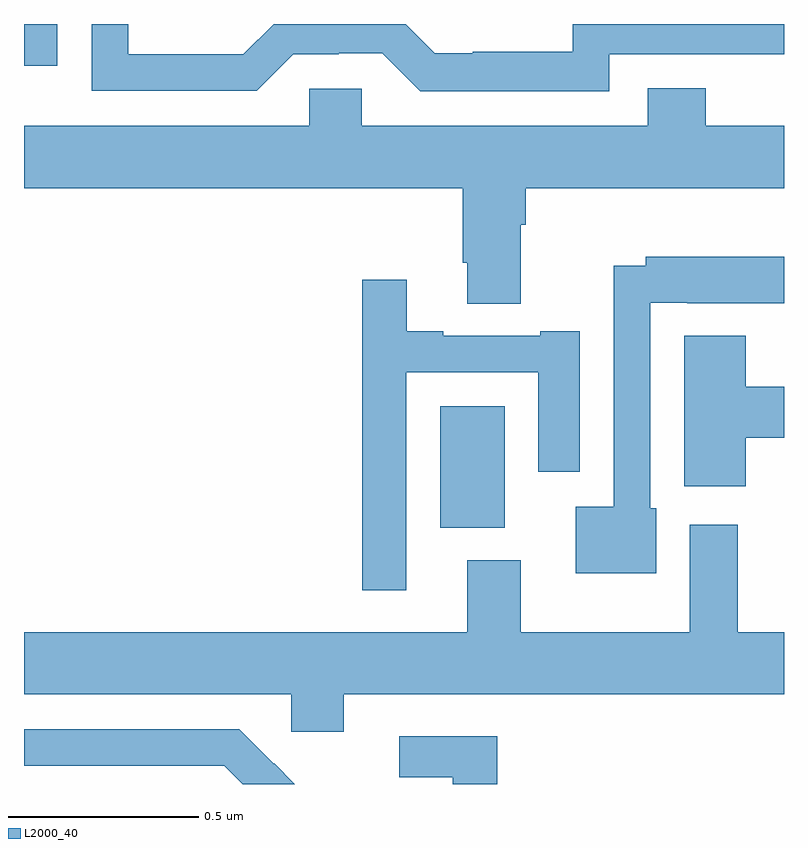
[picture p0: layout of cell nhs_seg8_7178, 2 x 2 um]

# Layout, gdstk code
import gdstk
lib = gdstk.Library(unit=1e-6, precision=1e-09)
def R(c, l, rs):  # rectangles x0, y0, x1, y1
    for r in rs: c.add(gdstk.rectangle(r[:2], r[2:], *l))
def P(c, l, *ps):  # polygons
    for p in ps: c.add(gdstk.Polygon(p, *l))
L2000_40 = (2000, 40)

nhs_seg8_7178 = lib.new_cell('nhs_seg8_7178')
R(nhs_seg8_7178, L2000_40, [(207.095,1147.574,207.265,1147.894), (206,1148.79,206.087,1148.9)])
P(nhs_seg8_7178, L2000_40, [(207.54,1148.82),(208,1148.82),(208,1148.9),(207.444,1148.9),(207.444,1148.827),(207.181,1148.827),(207.181,1148.823),(207.081,1148.823),(207.004,1148.9),(206.657,1148.9),(206.577,1148.82),(206.274,1148.82),(206.274,1148.9),(206.178,1148.9),(206.178,1148.724),(206.613,1148.724),(206.709,1148.82),(206.828,1148.82),(206.828,1148.823),(206.943,1148.823),(207.043,1148.723),(207.54,1148.723)],
  [(207.307,1148.372),(207.32,1148.372),(207.32,1148.468),(208,1148.468),(208,1148.632),(207.794,1148.632),(207.794,1148.731),(207.641,1148.731),(207.641,1148.632),(206.889,1148.632),(206.889,1148.73),(206.751,1148.73),(206.751,1148.632),(206,1148.632),(206,1148.468),(207.155,1148.468),(207.155,1148.272),(207.167,1148.272),(207.167,1148.164),(207.307,1148.164)],
  [(207.664,1147.626),(207.648,1147.626),(207.648,1148.166),(207.745,1148.166),(207.745,1148.165),(208,1148.165),(208,1148.287),(207.636,1148.287),(207.636,1148.264),(207.552,1148.264),(207.552,1147.63),(207.452,1147.63),(207.452,1147.454),(207.664,1147.454)],
  [(207.006,1147.983),(207.353,1147.983),(207.353,1147.722),(207.463,1147.722),(207.463,1148.092),(207.359,1148.092),(207.359,1148.079),(207.103,1148.079),(207.103,1148.092),(207.007,1148.092),(207.007,1148.227),(206.89,1148.227),(206.89,1147.41),(207.006,1147.41)],
  [(207.899,1147.811),(208,1147.811),(208,1147.945),(207.899,1147.945),(207.899,1148.08),(207.737,1148.08),(207.737,1147.683),(207.899,1147.683)],
  [(206.842,1147.136),(208,1147.136),(208,1147.3),(207.878,1147.3),(207.878,1147.582),(207.752,1147.582),(207.752,1147.3),(207.307,1147.3),(207.307,1147.489),(207.167,1147.489),(207.167,1147.3),(206,1147.3),(206,1147.136),(206.703,1147.136),(206.703,1147.038),(206.842,1147.038)],
  [(206.658,1146.954),(206.657,1146.953),(206.566,1147.044),(206,1147.044),(206,1146.948),(206.527,1146.948),(206.575,1146.9),(206.712,1146.9)],
  [(207.245,1147.026),(206.988,1147.026),(206.988,1146.918),(207.128,1146.918),(207.128,1146.9),(207.245,1146.9)])

lib.write_gds('nhs_seg8_7178.gds')
